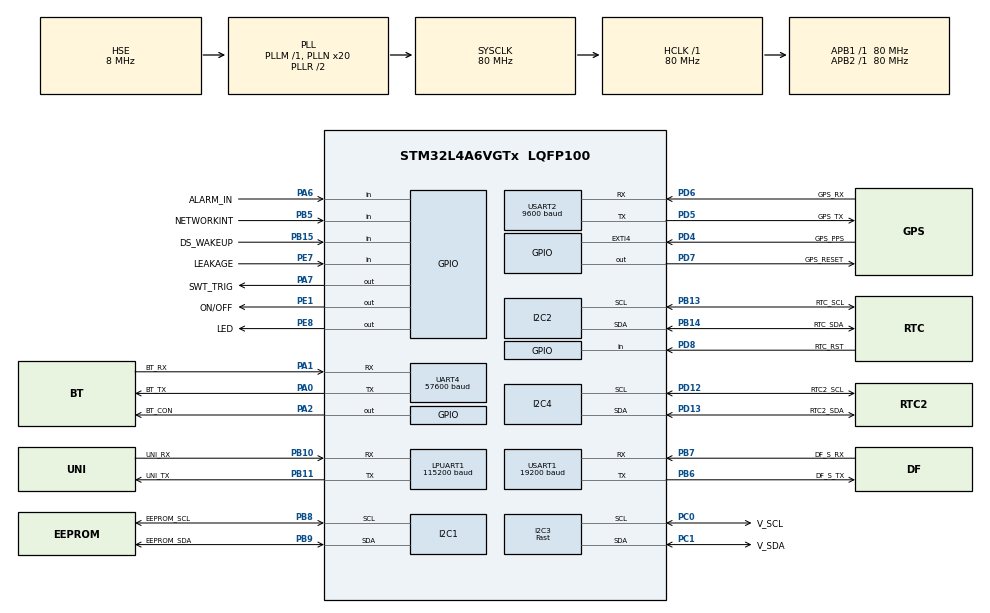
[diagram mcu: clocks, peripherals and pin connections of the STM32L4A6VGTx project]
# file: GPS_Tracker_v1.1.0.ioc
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FREERTOS.Queues01=iridiumQueue,30,50,1,Dynamic,NULL,NULL;usbQueue,5,50,1,Dynamic,NULL,NULL;gpsQueue,30,100,1,Dynamic,NULL,NULL;iridiumsendQueue,70,50,1,Dynamic,NULL,NULL;iridiumrecvQueue,10,50,1,Dynamic,NULL,NULL;crcdataQueue,20,50,1,Dynamic,NULL,NULL;sizedatairidiumQueue,70,uint16_t,0,Dynamic,NULL,NULL;sizedatadecodeQueue,20,uint16_t,0,Dynamic,NULL,NULL
PD12.GPIO_Label=RTC2_SCL
Dma.UART4_RX.1.Mode=DMA_CIRCULAR
VP_SYS_VS_tim6.Mode=TIM6
Dma.UART4_RX.1.MemDataAlignment=DMA_MDATAALIGN_BYTE
PB10.Mode=Asynchronous
NVIC.TIM6_DAC_IRQn=true\:0\:0\:false\:false\:true\:false\:false\:true
PB14.GPIO_Label=RTC_SDA
PB7.GPIO_FM7=I2C_FASTMODEPLUS_PB7
PE1.PinState=GPIO_PIN_SET
VP_RTC_VS_RTC_Activate.Mode=RTC_Enabled
LPUART1.WordLength=UART_WORDLENGTH_8B
PA6.GPIO_Label=ALARM_IN
PB6.GPIO_Label=DF_S_TX
Dma.USART1_RX.3.MemDataAlignment=DMA_MDATAALIGN_BYTE
PC15-OSC32_OUT\ (PC15).Mode=LSE-External-Oscillator
PB13.Signal=I2C2_SCL
PD6.GPIO_Label=GPS_RX
RCC.SYSCLKSource=RCC_SYSCLKSOURCE_PLLCLK
PC14-OSC32_IN\ (PC14).Mode=LSE-External-Oscillator
PA14\ (JTCK/SWCLK).Signal=SYS_JTCK-SWCLK
PD7.GPIO_PuPd=GPIO_PULLUP
I2C4.Timing=0x10909CEC
PD4.Signal=GPXTI4
RCC.APB2TimFreq_Value=80000000
PB6.Signal=USART1_TX
PB6.Mode=Asynchronous
Dma.USART2_RX.2.Priority=DMA_PRIORITY_LOW
PD8.Signal=GPIO_Input
PE1.Signal=GPIO_Output
PB7.GPIO_ModeDefaultPP=GPIO_MODE_AF_PP
RCC.RTCClockSelection=RCC_RTCCLKSOURCE_LSE
PB14.Mode=I2C
USART1.OverrunDisableParam=ADVFEATURE_OVERRUN_ENABLE
PA0.Mode=Asynchronous
PA14\ (JTCK/SWCLK).Mode=Serial_Wire
Dma.LPUART_RX.0.Direction=DMA_PERIPH_TO_MEMORY
PA0.Signal=UART4_TX
RTC.AlarmMaskDateWeekDay-Alarm\ A=RTC_ALARMMASK_DATEWEEKDAY
Mcu.Package=LQFP100
PB9.Signal=I2C1_SDA
Dma.USART1_RX.3.Instance=DMA1_Channel5
NVIC.TimeBase=TIM6_DAC_IRQn
PD12.Signal=I2C4_SCL
PB6.GPIO_FM6=I2C_FASTMODEPLUS_PB6
Dma.UART4_RX.1.PeriphDataAlignment=DMA_PDATAALIGN_BYTE
NVIC.TimeBaseIP=TIM6
VP_RTC_VS_RTC_Calendar.Mode=RTC_Calendar
Dma.USART2_RX.2.Direction=DMA_PERIPH_TO_MEMORY
RCC.APB1TimFreq_Value=80000000
PB13.Mode=I2C
NVIC.USART1_IRQn=true\:5\:0\:false\:false\:true\:true\:true\:true
Dma.USART1_RX.3.MemInc=DMA_MINC_ENABLE
PH0-OSC_IN\ (PH0).Mode=HSE-External-Oscillator
RCC.HSI48_VALUE=48000000
NVIC.UART4_IRQn=true\:5\:0\:false\:true\:true\:3\:true\:true\:true
PB7.GPIO_PuPd=GPIO_NOPULL
NVIC.DMA1_Channel6_IRQn=true\:5\:0\:false\:false\:true\:true\:false\:true
FREERTOS.Tasks01=operationTask,32,4096,StartOperationTask,Default,NULL,Dynamic,NULL,NULL;iridiumTask,40,6144,StartIridiumTask,Default,NULL,Dynamic,NULL,NULL;gpsTask,8,2048,StartGpsTask,Default,NULL,Dynamic,NULL,NULL;usbTask,24,4096,StartUsbTask,Default,NULL,Dynamic,NULL,NULL;sendiridiumTask,41,6144,StartSendIridiumTask,Default,NULL,Dynamic,NULL,NULL;watchdogTask,42,2048,StartWatchdogTask,Default,NULL,Dynamic,NULL,NULL;iridiumrecvTask,43,4096,StartIridiumrecvTask,Default,NULL,Dynamic,NULL,NULL
PB6.GPIO_PuPd=GPIO_NOPULL
PB11.GPIO_Label=UNI_TX
PD7.Signal=GPIO_Output
PE1.GPIO_PuPd=GPIO_PULLDOWN
Dma.LPUART_RX.0.Instance=DMA2_Channel7
PC0.Signal=I2C3_SCL
PD6.Mode=Asynchronous
USART2.BaudRate=9600
Dma.USART2_RX.2.Mode=DMA_CIRCULAR
Dma.LPUART_RX.0.MemDataAlignment=DMA_MDATAALIGN_BYTE
PB8.GPIO_Label=EEPROM_SCL
PB11.Mode=Asynchronous
PE8.GPIO_Label=LED
I2C1.Timing=0x10909CEC
RTC.Format=RTC_FORMAT_BIN
PB10.Signal=LPUART1_RX
PB14.Signal=I2C2_SDA
PE1.GPIO_Label=ON/OFF
PA1.Mode=Asynchronous
PB15.GPIO_Label=DS_WAKEUP
PE8.Signal=GPIO_Output
PA1.GPIO_Label=BT_RX
Dma.USART1_RX.3.PeriphDataAlignment=DMA_PDATAALIGN_BYTE
NVIC.RTC_Alarm_IRQn=true\:5\:0\:false\:false\:true\:true\:true\:true
PB5.Signal=GPIO_Input
Dma.LPUART_RX.0.PeriphInc=DMA_PINC_DISABLE
PD12.Mode=I2C
USART1.MSBFirstParam=ADVFEATURE_MSBFIRST_DISABLE
ProjectManager.HeapSize=0x200
Dma.UART4_RX.1.PeriphInc=DMA_PINC_DISABLE
NVIC.PriorityGroup=NVIC_PRIORITYGROUP_4
Dma.UART4_RX.1.Priority=DMA_PRIORITY_MEDIUM
PB8.Mode=I2C
PB6.GPIO_Speed=GPIO_SPEED_FREQ_VERY_HIGH
USART1.SwapParam=ADVFEATURE_SWAP_DISABLE
PC1.Signal=I2C3_SDA
PA13\ (JTMS/SWDIO).Signal=SYS_JTMS-SWDIO
PC1.Mode=I2C
I2C3.I2C_Speed_Mode=I2C_Fast
Mcu.Family=STM32L4
Dma.USART2_RX.2.PeriphDataAlignment=DMA_PDATAALIGN_BYTE
RTC.AlarmMaskHours-Alarm\ A=RTC_ALARMMASK_HOURS
RCC.CortexFreq_Value=80000000
FREERTOS.BinarySemaphores01=rtcBinarySem,Dynamic,NULL;iridiumrecvBinarySem,Dynamic,NULL
NVIC.DMA1_Channel5_IRQn=true\:5\:0\:false\:false\:true\:true\:false\:true
PH0-OSC_IN\ (PH0).Signal=RCC_OSC_IN
USART1.BaudRate=19200
VP_IWDG_VS_IWDG.Mode=IWDG_Activate
I2C2.Timing=0x10909CEC
PA0.GPIO_Label=BT_TX
PC0.GPIO_Label=V_SCL
RTC.AlarmMaskMinutes-Alarm\ A=RTC_ALARMMASK_MINUTES
PB13.GPIO_Label=RTC_SCL
PB11.Signal=LPUART1_TX
PB15.Signal=GPIO_Input
VP_RTC_VS_RTC_Alarm_A_Intern.Mode=Alarm A
ProjectManager.StackSize=0x400
VP_FREERTOS_VS_CMSIS_V2.Mode=CMSIS_V2
PD13.Signal=I2C4_SDA
NVIC.LPUART1_IRQn=true\:5\:0\:false\:true\:true\:2\:true\:true\:true
UART4.BaudRate=57600
RCC.HCLKFreq_Value=80000000
Dma.USART2_RX.2.MemDataAlignment=DMA_MDATAALIGN_BYTE
RCC.AHBFreq_Value=80000000
PD5.Mode=Asynchronous
PH1-OSC_OUT\ (PH1).Mode=HSE-External-Oscillator
NVIC.DMA2_Channel5_IRQn=true\:5\:0\:false\:false\:true\:true\:false\:true
RCC.HSE_VALUE=8000000
Dma.UART4_RX.1.MemInc=DMA_MINC_ENABLE
USART2.VirtualMode-Asynchronous=VM_ASYNC
PB7.Signal=USART1_RX
Dma.USART1_RX.3.Direction=DMA_PERIPH_TO_MEMORY
FREERTOS.configTOTAL_HEAP_SIZE=200000
RCC.FLatency-AdvancedSettings=FLASH_LATENCY_4
PD7.GPIO_Label=GPS_RESET
Dma.LPUART_RX.0.Priority=DMA_PRIORITY_VERY_HIGH
PB7.GPIO_Label=DF_S_RX
PD13.GPIO_Label=RTC2_SDA
PA6.Signal=GPIO_Input
PD5.GPIO_Label=GPS_TX
PA2.GPIO_Label=BT_CON
USART1.DMADisableonRxErrorParam=ADVFEATURE_DMA_ENABLEONRXERROR
I2C3.Timing=0x00702991
PB5.GPIO_Label=NETWORKINT
Dma.Request2=USART2_RX
Dma.Request1=UART4_RX
Dma.Request3=USART1_RX
RCC.CK48CLockSelection=RCC_USBCLKSOURCE_HSI48
PE7.Signal=GPIO_Input
PD6.Signal=USART2_RX
Dma.Request0=LPUART_RX
Dma.UART4_RX.1.Direction=DMA_PERIPH_TO_MEMORY
RCC.PLLSAI1N=16
PB7.GPIO_Speed=GPIO_SPEED_FREQ_VERY_HIGH
Dma.LPUART_RX.0.PeriphDataAlignment=DMA_PDATAALIGN_BYTE
RCC.MSI_VALUE=4000000
RCC.PLLSourceVirtual=RCC_PLLSOURCE_HSE
PA13\ (JTMS/SWDIO).Mode=Serial_Wire
PB9.GPIO_Label=EEPROM_SDA
Dma.USART1_RX.3.PeriphInc=DMA_PINC_DISABLE
PD5.Signal=USART2_TX
PC15-OSC32_OUT\ (PC15).Signal=RCC_OSC32_OUT
NVIC.USART2_IRQn=true\:5\:0\:false\:true\:true\:4\:true\:true\:true
PH1-OSC_OUT\ (PH1).Signal=RCC_OSC_OUT
PC0.Mode=I2C
PD8.GPIO_Label=RTC_RST
USART1.VirtualMode-Asynchronous=VM_ASYNC
Dma.USART2_RX.2.MemInc=DMA_MINC_ENABLE
ProjectManager.TargetToolchain=STM32CubeIDE
PB10.GPIO_Label=UNI_RX
Dma.UART4_RX.1.Instance=DMA2_Channel5
PB9.Mode=I2C
PD13.Mode=I2C
RCC.USBFreq_Value=48000000
PA1.Signal=UART4_RX
PB6.GPIO_ModeDefaultPP=GPIO_MODE_AF_PP
board=custom
RCC.VCOOutputFreq_Value=160000000
Dma.LPUART_RX.0.Mode=DMA_CIRCULAR
Dma.USART2_RX.2.PeriphInc=DMA_PINC_DISABLE
RCC.APB2Freq_Value=80000000
PD4.GPIO_Label=GPS_PPS
PE1.GPIO_Speed=GPIO_SPEED_FREQ_HIGH
RCC.ADCFreq_Value=64000000
PC1.GPIO_Label=V_SDA
Mcu.Name=STM32L4A6VGTx
RTC.Alarm-Alarm\ A=RTC_ALARM_A
PE7.GPIO_Label=LEAKAGE
LPUART1.BaudRate=115200
PA2.Signal=GPIO_Output
Dma.USART1_RX.3.Priority=DMA_PRIORITY_LOW
RCC.SYSCLKFreq_VALUE=80000000
PA7.GPIO_Label=SWT_TRIG
USART1.AutoBaudRateEnableParam=UART_ADVFEATURE_AUTOBAUDRATE_DISABLE
Dma.USART2_RX.2.Instance=DMA1_Channel6
PC14-OSC32_IN\ (PC14).Signal=RCC_OSC32_IN
PB7.Mode=Asynchronous
NVIC.DMA2_Channel7_IRQn=true\:5\:0\:false\:false\:true\:true\:false\:true
RCC.HSI_VALUE=16000000
RCC.PLLN=20
IWDG.Prescaler=IWDG_PRESCALER_256
PB8.Signal=I2C1_SCL
Dma.LPUART_RX.0.MemInc=DMA_MINC_ENABLE
RCC.APB1Freq_Value=80000000
Dma.USART1_RX.3.Mode=DMA_CIRCULAR
PA7.Signal=GPIO_Output

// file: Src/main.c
/* USER CODE BEGIN Header */
/**
  ******************************************************************************
  * @file           : main.c
  * @brief          : Main program body
  ******************************************************************************
  * @attention
  *
  * <h2><center>&copy; Copyright (c) 2021 STMicroelectronics.
  * All rights reserved.</center></h2>
  *
  * This software component is licensed by ST under Ultimate Liberty license
  * SLA0044, the "License"; You may not use this file except in compliance with
  * the License. You may obtain a copy of the License at:
  *                             www.st.com/SLA0044
  *
  ******************************************************************************
  */
/* USER CODE END Header */
#include "main.h"
#include "cmsis_os.h"

/* USER CODE BEGIN Includes */
#include "parameterTEWS.h"
#include "stm32l4xx_hal_pwr.h"
#include "stm32l4xx_hal_rtc.h"
#include "task.h"
#include "stm32l4xx_hal.h"
#include "FreeRTOSConfig.h"
/* USER CODE END Includes */

I2C_HandleTypeDef hi2c1;
I2C_HandleTypeDef hi2c2;
I2C_HandleTypeDef hi2c3;
I2C_HandleTypeDef hi2c4;

IWDG_HandleTypeDef hiwdg;

UART_HandleTypeDef hlpuart1;
UART_HandleTypeDef huart4;
UART_HandleTypeDef huart1;
UART_HandleTypeDef huart2;
DMA_HandleTypeDef hdma_lpuart_rx;
DMA_HandleTypeDef hdma_uart4_rx;
DMA_HandleTypeDef hdma_usart1_rx;
DMA_HandleTypeDef hdma_usart2_rx;

RTC_HandleTypeDef hrtc;

/* Definitions for operationTask */
osThreadId_t operationTaskHandle;
const osThreadAttr_t operationTask_attributes = {
  .name = "operationTask",
  .stack_size = 4096 * 4,
  .priority = (osPriority_t) osPriorityAboveNormal,
};
/* Definitions for iridiumTask */
osThreadId_t iridiumTaskHandle;
const osThreadAttr_t iridiumTask_attributes = {
  .name = "iridiumTask",
  .stack_size = 6144 * 4,
  .priority = (osPriority_t) osPriorityHigh,
};
/* Definitions for gpsTask */
osThreadId_t gpsTaskHandle;
const osThreadAttr_t gpsTask_attributes = {
  .name = "gpsTask",
  .stack_size = 2048 * 4,
  .priority = (osPriority_t) osPriorityLow,
};
/* Definitions for usbTask */
osThreadId_t usbTaskHandle;
const osThreadAttr_t usbTask_attributes = {
  .name = "usbTask",
  .stack_size = 4096 * 4,
  .priority = (osPriority_t) osPriorityNormal,
};
/* Definitions for sendiridiumTask */
osThreadId_t sendiridiumTaskHandle;
const osThreadAttr_t sendiridiumTask_attributes = {
  .name = "sendiridiumTask",
  .stack_size = 6144 * 4,
  .priority = (osPriority_t) osPriorityHigh1,
};
/* Definitions for watchdogTask */
osThreadId_t watchdogTaskHandle;
const osThreadAttr_t watchdogTask_attributes = {
  .name = "watchdogTask",
  .stack_size = 2048 * 4,
  .priority = (osPriority_t) osPriorityHigh2,
};
/* Definitions for iridiumrecvTask */
osThreadId_t iridiumrecvTaskHandle;
const osThreadAttr_t iridiumrecvTask_attributes = {
  .name = "iridiumrecvTask",
  .stack_size = 4096 * 4,
  .priority = (osPriority_t) osPriorityHigh3,
};
/* Definitions for iridiumQueue */
osMessageQueueId_t iridiumQueueHandle;
const osMessageQueueAttr_t iridiumQueue_attributes = {
  .name = "iridiumQueue"
};
/* Definitions for usbQueue */
osMessageQueueId_t usbQueueHandle;
const osMessageQueueAttr_t usbQueue_attributes = {
  .name = "usbQueue"
};
/* Definitions for gpsQueue */
osMessageQueueId_t gpsQueueHandle;
const osMessageQueueAttr_t gpsQueue_attributes = {
  .name = "gpsQueue"
};
/* Definitions for iridiumsendQueue */
osMessageQueueId_t iridiumsendQueueHandle;
const osMessageQueueAttr_t iridiumsendQueue_attributes = {
  .name = "iridiumsendQueue"
};
/* Definitions for iridiumrecvQueue */
osMessageQueueId_t iridiumrecvQueueHandle;
const osMessageQueueAttr_t iridiumrecvQueue_attributes = {
  .name = "iridiumrecvQueue"
};
/* Definitions for crcdataQueue */
osMessageQueueId_t crcdataQueueHandle;
const osMessageQueueAttr_t crcdataQueue_attributes = {
  .name = "crcdataQueue"
};
/* Definitions for sizedatairidiumQueue */
osMessageQueueId_t sizedatairidiumQueueHandle;
const osMessageQueueAttr_t sizedatairidiumQueue_attributes = {
  .name = "sizedatairidiumQueue"
};
/* Definitions for sizedatadecodeQueue */
osMessageQueueId_t sizedatadecodeQueueHandle;
const osMessageQueueAttr_t sizedatadecodeQueue_attributes = {
  .name = "sizedatadecodeQueue"
};
/* Definitions for rtcBinarySem */
osSemaphoreId_t rtcBinarySemHandle;
const osSemaphoreAttr_t rtcBinarySem_attributes = {
  .name = "rtcBinarySem"
};
/* Definitions for iridiumrecvBinarySem */
osSemaphoreId_t iridiumrecvBinarySemHandle;
const osSemaphoreAttr_t iridiumrecvBinarySem_attributes = {
  .name = "iridiumrecvBinarySem"
};
/* USER CODE BEGIN PV */
uint32_t generalTaskTimer;
uint32_t iridiumTaskTimer;
uint32_t akustikTaskTimer;
uint32_t sdcardTaskTimer;
uint32_t gpsTaskTimer;
uint32_t usbTaskTimer;
uint32_t datadecodeTaskTimer;
uint32_t prevdataengTaskTimer;
uint32_t dataengTaskTimer;
uint32_t prevGPSTaskTimer1;
uint32_t prevGPSTaskTimer2;
uint8_t  statusSendGPS;
uint32_t datahandleTaskTimer;
uint32_t acoenvTaskTimer;
uint32_t iridiumrecvTaskTimer;

_RTC rtcTEWS;
_RTC rtcTEWS2;

char bufferusb[100] = "buffer USB \n"; //reserved for print buffer usb
char bufferiridium[100] = "buffer IRIDIUM \n"; //reserved for print buffer usb
char buffersdcard[100] = "buffer SDCARD \n"; //reserved for print buffer sdcard
char bufferakustik[100] = "buffer AKUSTIK \n"; //reserved for print buffer usb
char buffergps[100] = "buffer GPS \n"; //reserved for print buffer usb
char bufferdata6bit[100] = "buffer \n"; //reserved for print buffer usb
char buffercrcdata[100] = "buffer \n"; //reserved for print buffer usb
char bufferiridiumdata[100] = "buffer \n"; //reserved for print buffer usb

uint32_t threshold;
uint8_t poweracoustic;
uint8_t rateacoustic;
uint32_t periodsampling;
uint32_t periodsenddata;
uint32_t periodsendloc;
uint32_t old_periodsendloc;
uint32_t periodsendbat;
uint32_t timebacknormal;

uint8_t mode = BUOY; //default
uint8_t debug = ACTIVE;
uint8_t debugbt;
uint8_t mulai = 0;
uint8_t idOBU;
uint8_t idBUOY;
uint8_t idCBT;
uint8_t operationmode;
uint8_t countertsunami;
uint8_t calculationstatus;
uint8_t sendmodeiridium = TEXT;
uint8_t tandalat;
int latx;
float latitude;
uint8_t tandalng;
int lngx;
float longitude;
uint32_t distancedrifting;
uint8_t ledstatus;
uint8_t debugbpr;
uint8_t debugakustik;
uint8_t debugiridium;
uint8_t debuggps;
uint8_t debugbluetooth;
uint8_t debuguni;
uint8_t syncgps;
uint8_t AccelerometerStatus;
uint8_t kalibrasibat;
uint32_t accth;
uint32_t acccounter;

uint8_t flagminute;
uint8_t flaghour;

uint8_t flagBPRtimeOut;

uint32_t acccounterstatus;
uint32_t timebacknormalstatus;
uint8_t accstreamstatus;
uint8_t synctimertc;
uint8_t minbat;
uint8_t hourbat;
uint8_t minloc;
uint8_t hourloc;
uint8_t periodmin;
uint8_t driftcalc;
uint8_t leakstatus;

uint8_t statuswaitresponsebpr;
uint8_t counterwaitbpr;
uint8_t counterwaitbprflag;
uint8_t AISstatus;

uint8_t regVal;
float rtcTemp;

uint32_t PeriodSampling = 15;
uint32_t CounterSamplingOBU = 0;
uint32_t CounterSamplingBUOY = 0;
uint32_t CounterSendOBU = 0;
uint32_t CounterSendBUOY = 0;
uint32_t CounterSendBUOYBat = 0;

uint8_t settime = 1;
uint8_t timer2keeper = 0;
uint8_t counterTA;

char printbuf[400] = "print buffer \n";
_RTC rtcTEWS;
RTC_TimeTypeDef stimeststuctureget;
RTC_DateTypeDef sdateststuctureget;
RTC_TimeTypeDef getTimeRTC;
RTC_DateTypeDef getDateRTC;
uint32_t volt;
uint8_t alarm_now;

uint8_t receiveOBU;

uint8_t signaliridium;
uint8_t ds_wakeup;

uint8_t nbtry = 0;
uint8_t statusbuoy = 0;
uint8_t versionfirmware = 3;
uint8_t iridiumqueuenumber = 0;
uint8_t iridium11counter = 0;
uint8_t iridiumsleepcounter = 0;
uint8_t autosleepcounter = 0;

extern IRIDIUM_t IRIDIUM;
extern DATAENGINEERING_t DATAENGINEERING;
/* USER CODE END PV */

void SystemClock_Config(void);
static void MX_GPIO_Init(void);
static void MX_DMA_Init(void);
static void MX_I2C1_Init(void);
static void MX_I2C2_Init(void);
static void MX_I2C3_Init(void);
static void MX_IWDG_Init(void);
static void MX_LPUART1_UART_Init(void);
static void MX_UART4_Init(void);
static void MX_USART1_UART_Init(void);
static void MX_USART2_UART_Init(void);
static void MX_RTC_Init(void);
static void MX_I2C4_Init(void);
void StartOperationTask(void *argument);
void StartIridiumTask(void *argument);
void StartGpsTask(void *argument);
void StartUsbTask(void *argument);
void StartSendIridiumTask(void *argument);
void StartWatchdogTask(void *argument);
void StartIridiumrecvTask(void *argument);

static void MX_NVIC_Init(void);

int main(void)
{

  /* MCU Configuration--------------------------------------------------------*/

  /* Reset of all peripherals, Initializes the Flash interface and the Systick. */
  HAL_Init();

  /* Configure the system clock */
  SystemClock_Config();

  /* Initialize all configured peripherals */
  MX_GPIO_Init();
  MX_DMA_Init();
  MX_I2C1_Init();
  MX_I2C2_Init();
  MX_I2C3_Init();
  MX_IWDG_Init();
  MX_LPUART1_UART_Init();
  MX_UART4_Init();
  MX_USART1_UART_Init();
  MX_USART2_UART_Init();
  MX_RTC_Init();
  MX_I2C4_Init();

  /* Initialize interrupts */
  MX_NVIC_Init();

  /* Init scheduler */
  osKernelInitialize();

  /* Create the semaphores(s) */
  /* creation of rtcBinarySem */
  rtcBinarySemHandle = osSemaphoreNew(1, 1, &rtcBinarySem_attributes);

  /* creation of iridiumrecvBinarySem */
  iridiumrecvBinarySemHandle = osSemaphoreNew(1, 1, &iridiumrecvBinarySem_attributes);

  /* Create the queue(s) */
  /* creation of iridiumQueue */
  iridiumQueueHandle = osMessageQueueNew (30, 50, &iridiumQueue_attributes);

  /* creation of usbQueue */
  usbQueueHandle = osMessageQueueNew (5, 50, &usbQueue_attributes);

  /* creation of gpsQueue */
  gpsQueueHandle = osMessageQueueNew (30, 100, &gpsQueue_attributes);

  /* creation of iridiumsendQueue */
  iridiumsendQueueHandle = osMessageQueueNew (70, 50, &iridiumsendQueue_attributes);

  /* creation of iridiumrecvQueue */
  iridiumrecvQueueHandle = osMessageQueueNew (10, 50, &iridiumrecvQueue_attributes);

  /* creation of crcdataQueue */
  crcdataQueueHandle = osMessageQueueNew (20, 50, &crcdataQueue_attributes);

  /* creation of sizedatairidiumQueue */
  sizedatairidiumQueueHandle = osMessageQueueNew (70, sizeof(uint16_t), &sizedatairidiumQueue_attributes);

  /* creation of sizedatadecodeQueue */
  sizedatadecodeQueueHandle = osMessageQueueNew (20, sizeof(uint16_t), &sizedatadecodeQueue_attributes);

  /* Create the thread(s) */
  /* creation of operationTask */
  operationTaskHandle = osThreadNew(StartOperationTask, NULL, &operationTask_attributes);

  /* creation of iridiumTask */
  iridiumTaskHandle = osThreadNew(StartIridiumTask, NULL, &iridiumTask_attributes);

  /* creation of gpsTask */
  gpsTaskHandle = osThreadNew(StartGpsTask, NULL, &gpsTask_attributes);

  /* creation of usbTask */
  usbTaskHandle = osThreadNew(StartUsbTask, NULL, &usbTask_attributes);

  /* creation of sendiridiumTask */
  sendiridiumTaskHandle = osThreadNew(StartSendIridiumTask, NULL, &sendiridiumTask_attributes);

  /* creation of watchdogTask */
  watchdogTaskHandle = osThreadNew(StartWatchdogTask, NULL, &watchdogTask_attributes);

  /* creation of iridiumrecvTask */
  iridiumrecvTaskHandle = osThreadNew(StartIridiumrecvTask, NULL, &iridiumrecvTask_attributes);

  /* Start scheduler */
  osKernelStart();

  /* We should never get here as control is now taken by the scheduler */
  /* Infinite loop */
  while (1)
  {

  }
}

void SystemClock_Config(void)
{
  RCC_OscInitTypeDef RCC_OscInitStruct = {0};
  RCC_ClkInitTypeDef RCC_ClkInitStruct = {0};
  RCC_PeriphCLKInitTypeDef PeriphClkInit = {0};

  /** Configure LSE Drive Capability
  */
  HAL_PWR_EnableBkUpAccess();
  __HAL_RCC_LSEDRIVE_CONFIG(RCC_LSEDRIVE_LOW);
  /** Initializes the RCC Oscillators according to the specified parameters
  * in the RCC_OscInitTypeDef structure.
  */
  RCC_OscInitStruct.OscillatorType = RCC_OSCILLATORTYPE_LSI|RCC_OSCILLATORTYPE_HSE
                              |RCC_OSCILLATORTYPE_LSE;
  RCC_OscInitStruct.HSEState = RCC_HSE_ON;
  RCC_OscInitStruct.LSEState = RCC_LSE_ON;
  RCC_OscInitStruct.LSIState = RCC_LSI_ON;
  RCC_OscInitStruct.PLL.PLLState = RCC_PLL_ON;
  RCC_OscInitStruct.PLL.PLLSource = RCC_PLLSOURCE_HSE;
  RCC_OscInitStruct.PLL.PLLM = 1;
  RCC_OscInitStruct.PLL.PLLN = 20;
  RCC_OscInitStruct.PLL.PLLP = RCC_PLLP_DIV2;
  RCC_OscInitStruct.PLL.PLLQ = RCC_PLLQ_DIV2;
  RCC_OscInitStruct.PLL.PLLR = RCC_PLLR_DIV2;
  if (HAL_RCC_OscConfig(&RCC_OscInitStruct) != HAL_OK)
  {
    Error_Handler();
  }
  /** Initializes the CPU, AHB and APB buses clocks
  */
  RCC_ClkInitStruct.ClockType = RCC_CLOCKTYPE_HCLK|RCC_CLOCKTYPE_SYSCLK
                              |RCC_CLOCKTYPE_PCLK1|RCC_CLOCKTYPE_PCLK2;
  RCC_ClkInitStruct.SYSCLKSource = RCC_SYSCLKSOURCE_PLLCLK;
  RCC_ClkInitStruct.AHBCLKDivider = RCC_SYSCLK_DIV1;
  RCC_ClkInitStruct.APB1CLKDivider = RCC_HCLK_DIV1;
  RCC_ClkInitStruct.APB2CLKDivider = RCC_HCLK_DIV1;

  if (HAL_RCC_ClockConfig(&RCC_ClkInitStruct, FLASH_LATENCY_4) != HAL_OK)
  {
    Error_Handler();
  }
  PeriphClkInit.PeriphClockSelection = RCC_PERIPHCLK_RTC|RCC_PERIPHCLK_USART1
                              |RCC_PERIPHCLK_USART2|RCC_PERIPHCLK_UART4
                              |RCC_PERIPHCLK_LPUART1|RCC_PERIPHCLK_I2C1
                              |RCC_PERIPHCLK_I2C2|RCC_PERIPHCLK_I2C3
                              |RCC_PERIPHCLK_I2C4;
  PeriphClkInit.Usart1ClockSelection = RCC_USART1CLKSOURCE_PCLK2;
  PeriphClkInit.Usart2ClockSelection = RCC_USART2CLKSOURCE_PCLK1;
  PeriphClkInit.Uart4ClockSelection = RCC_UART4CLKSOURCE_PCLK1;
  PeriphClkInit.Lpuart1ClockSelection = RCC_LPUART1CLKSOURCE_PCLK1;
  PeriphClkInit.I2c1ClockSelection = RCC_I2C1CLKSOURCE_PCLK1;
  PeriphClkInit.I2c2ClockSelection = RCC_I2C2CLKSOURCE_PCLK1;
  PeriphClkInit.I2c3ClockSelection = RCC_I2C3CLKSOURCE_PCLK1;
  PeriphClkInit.I2c4ClockSelection = RCC_I2C4CLKSOURCE_PCLK1;
  PeriphClkInit.RTCClockSelection = RCC_RTCCLKSOURCE_LSE;
  if (HAL_RCCEx_PeriphCLKConfig(&PeriphClkInit) != HAL_OK)
  {
    Error_Handler();
  }
  /** Configure the main internal regulator output voltage
  */
  if (HAL_PWREx_ControlVoltageScaling(PWR_REGULATOR_VOLTAGE_SCALE1) != HAL_OK)
  {
    Error_Handler();
  }
}

/**
  * @brief NVIC Configuration.
  * @retval None
  */
static void MX_NVIC_Init(void)
{
  /* LPUART1_IRQn interrupt configuration */
  HAL_NVIC_SetPriority(LPUART1_IRQn, 5, 0);
  HAL_NVIC_EnableIRQ(LPUART1_IRQn);
  /* UART4_IRQn interrupt configuration */
  HAL_NVIC_SetPriority(UART4_IRQn, 5, 0);
  HAL_NVIC_EnableIRQ(UART4_IRQn);
  /* USART2_IRQn interrupt configuration */
  HAL_NVIC_SetPriority(USART2_IRQn, 5, 0);
  HAL_NVIC_EnableIRQ(USART2_IRQn);
}

static void MX_I2C1_Init(void)
{

  hi2c1.Instance = I2C1;
  hi2c1.Init.Timing = 0x10909CEC;
  hi2c1.Init.OwnAddress1 = 0;
  hi2c1.Init.AddressingMode = I2C_ADDRESSINGMODE_7BIT;
  hi2c1.Init.DualAddressMode = I2C_DUALADDRESS_DISABLE;
  hi2c1.Init.OwnAddress2 = 0;
  hi2c1.Init.OwnAddress2Masks = I2C_OA2_NOMASK;
  hi2c1.Init.GeneralCallMode = I2C_GENERALCALL_DISABLE;
  hi2c1.Init.NoStretchMode = I2C_NOSTRETCH_DISABLE;
  if (HAL_I2C_Init(&hi2c1) != HAL_OK)
  {
    Error_Handler();
  }
  /** Configure Analogue filter
  */
  if (HAL_I2CEx_ConfigAnalogFilter(&hi2c1, I2C_ANALOGFILTER_ENABLE) != HAL_OK)
  {
    Error_Handler();
  }
  /** Configure Digital filter
  */
  if (HAL_I2CEx_ConfigDigitalFilter(&hi2c1, 0) != HAL_OK)
  {
    Error_Handler();
  }

}

static void MX_I2C2_Init(void)
{

  hi2c2.Instance = I2C2;
  hi2c2.Init.Timing = 0x10909CEC;
  hi2c2.Init.OwnAddress1 = 0;
  hi2c2.Init.AddressingMode = I2C_ADDRESSINGMODE_7BIT;
  hi2c2.Init.DualAddressMode = I2C_DUALADDRESS_DISABLE;
  hi2c2.Init.OwnAddress2 = 0;
  hi2c2.Init.OwnAddress2Masks = I2C_OA2_NOMASK;
  hi2c2.Init.GeneralCallMode = I2C_GENERALCALL_DISABLE;
  hi2c2.Init.NoStretchMode = I2C_NOSTRETCH_DISABLE;
  if (HAL_I2C_Init(&hi2c2) != HAL_OK)
  {
    Error_Handler();
  }
  /** Configure Analogue filter
  */
  if (HAL_I2CEx_ConfigAnalogFilter(&hi2c2, I2C_ANALOGFILTER_ENABLE) != HAL_OK)
  {
    Error_Handler();
  }
  /** Configure Digital filter
  */
  if (HAL_I2CEx_ConfigDigitalFilter(&hi2c2, 0) != HAL_OK)
  {
    Error_Handler();
  }

}

static void MX_I2C3_Init(void)
{

  hi2c3.Instance = I2C3;
  hi2c3.Init.Timing = 0x00702991;
  hi2c3.Init.OwnAddress1 = 0;
  hi2c3.Init.AddressingMode = I2C_ADDRESSINGMODE_7BIT;
  hi2c3.Init.DualAddressMode = I2C_DUALADDRESS_DISABLE;
  hi2c3.Init.OwnAddress2 = 0;
  hi2c3.Init.OwnAddress2Masks = I2C_OA2_NOMASK;
  hi2c3.Init.GeneralCallMode = I2C_GENERALCALL_DISABLE;
  hi2c3.Init.NoStretchMode = I2C_NOSTRETCH_DISABLE;
  if (HAL_I2C_Init(&hi2c3) != HAL_OK)
  {
    Error_Handler();
  }
  /** Configure Analogue filter
  */
  if (HAL_I2CEx_ConfigAnalogFilter(&hi2c3, I2C_ANALOGFILTER_ENABLE) != HAL_OK)
  {
    Error_Handler();
  }
  /** Configure Digital filter
  */
  if (HAL_I2CEx_ConfigDigitalFilter(&hi2c3, 0) != HAL_OK)
  {
    Error_Handler();
  }

}

static void MX_I2C4_Init(void)
{

  hi2c4.Instance = I2C4;
  hi2c4.Init.Timing = 0x10909CEC;
  hi2c4.Init.OwnAddress1 = 0;
  hi2c4.Init.AddressingMode = I2C_ADDRESSINGMODE_7BIT;
  hi2c4.Init.DualAddressMode = I2C_DUALADDRESS_DISABLE;
  hi2c4.Init.OwnAddress2 = 0;
  hi2c4.Init.OwnAddress2Masks = I2C_OA2_NOMASK;
  hi2c4.Init.GeneralCallMode = I2C_GENERALCALL_DISABLE;
  hi2c4.Init.NoStretchMode = I2C_NOSTRETCH_DISABLE;
  if (HAL_I2C_Init(&hi2c4) != HAL_OK)
  {
    Error_Handler();
  }
  /** Configure Analogue filter
  */
  if (HAL_I2CEx_ConfigAnalogFilter(&hi2c4, I2C_ANALOGFILTER_ENABLE) != HAL_OK)
  {
    Error_Handler();
  }
  /** Configure Digital filter
  */
  if (HAL_I2CEx_ConfigDigitalFilter(&hi2c4, 0) != HAL_OK)
  {
    Error_Handler();
  }

}

static void MX_IWDG_Init(void)
{

  hiwdg.Instance = IWDG;
  hiwdg.Init.Prescaler = IWDG_PRESCALER_256;
  hiwdg.Init.Window = 4095;
  hiwdg.Init.Reload = 4095;
  if (HAL_IWDG_Init(&hiwdg) != HAL_OK)
  {
    Error_Handler();
  }

}

static void MX_LPUART1_UART_Init(void)
{

  hlpuart1.Instance = LPUART1;
  hlpuart1.Init.BaudRate = 115200;
  hlpuart1.Init.WordLength = UART_WORDLENGTH_8B;
  hlpuart1.Init.StopBits = UART_STOPBITS_1;
  hlpuart1.Init.Parity = UART_PARITY_NONE;
  hlpuart1.Init.Mode = UART_MODE_TX_RX;
  hlpuart1.Init.HwFlowCtl = UART_HWCONTROL_NONE;
  hlpuart1.Init.OneBitSampling = UART_ONE_BIT_SAMPLE_DISABLE;
  hlpuart1.AdvancedInit.AdvFeatureInit = UART_ADVFEATURE_NO_INIT;
  if (HAL_UART_Init(&hlpuart1) != HAL_OK)
  {
    Error_Handler();
  }

}

static void MX_UART4_Init(void)
{

  huart4.Instance = UART4;
  huart4.Init.BaudRate = 57600;
  huart4.Init.WordLength = UART_WORDLENGTH_8B;
  huart4.Init.StopBits = UART_STOPBITS_1;
  huart4.Init.Parity = UART_PARITY_NONE;
  huart4.Init.Mode = UART_MODE_TX_RX;
  huart4.Init.HwFlowCtl = UART_HWCONTROL_NONE;
  huart4.Init.OverSampling = UART_OVERSAMPLING_16;
  huart4.Init.OneBitSampling = UART_ONE_BIT_SAMPLE_DISABLE;
  huart4.AdvancedInit.AdvFeatureInit = UART_ADVFEATURE_NO_INIT;
  if (HAL_UART_Init(&huart4) != HAL_OK)
  {
    Error_Handler();
  }

}

static void MX_USART1_UART_Init(void)
{

  huart1.Instance = USART1;
  huart1.Init.BaudRate = 19200;
  huart1.Init.WordLength = UART_WORDLENGTH_8B;
  huart1.Init.StopBits = UART_STOPBITS_1;
  huart1.Init.Parity = UART_PARITY_NONE;
  huart1.Init.Mode = UART_MODE_TX_RX;
  huart1.Init.HwFlowCtl = UART_HWCONTROL_NONE;
  huart1.Init.OverSampling = UART_OVERSAMPLING_16;
  huart1.Init.OneBitSampling = UART_ONE_BIT_SAMPLE_DISABLE;
  huart1.AdvancedInit.AdvFeatureInit = UART_ADVFEATURE_NO_INIT;
  if (HAL_UART_Init(&huart1) != HAL_OK)
  {
    Error_Handler();
  }

}

static void MX_USART2_UART_Init(void)
{

  huart2.Instance = USART2;
  huart2.Init.BaudRate = 9600;
  huart2.Init.WordLength = UART_WORDLENGTH_8B;
  huart2.Init.StopBits = UART_STOPBITS_1;
  huart2.Init.Parity = UART_PARITY_NONE;
  huart2.Init.Mode = UART_MODE_TX_RX;
  huart2.Init.HwFlowCtl = UART_HWCONTROL_NONE;
  huart2.Init.OverSampling = UART_OVERSAMPLING_16;
  huart2.Init.OneBitSampling = UART_ONE_BIT_SAMPLE_DISABLE;
  huart2.AdvancedInit.AdvFeatureInit = UART_ADVFEATURE_NO_INIT;
  if (HAL_UART_Init(&huart2) != HAL_OK)
  {
    Error_Handler();
  }

}

static void MX_RTC_Init(void)
{

  RTC_TimeTypeDef sTime = {0};
  RTC_DateTypeDef sDate = {0};
  RTC_AlarmTypeDef sAlarm = {0};

  /** Initialize RTC Only
  */
  hrtc.Instance = RTC;
  hrtc.Init.HourFormat = RTC_HOURFORMAT_24;
  hrtc.Init.AsynchPrediv = 127;
  hrtc.Init.SynchPrediv = 255;
  hrtc.Init.OutPut = RTC_OUTPUT_DISABLE;
  hrtc.Init.OutPutRemap = RTC_OUTPUT_REMAP_NONE;
  hrtc.Init.OutPutPolarity = RTC_OUTPUT_POLARITY_HIGH;
  hrtc.Init.OutPutType = RTC_OUTPUT_TYPE_OPENDRAIN;
  if (HAL_RTC_Init(&hrtc) != HAL_OK)
  {
    Error_Handler();
  }

  /** Initialize RTC and set the Time and Date
  */
  sTime.Hours = 0;
  sTime.Minutes = 0;
  sTime.Seconds = 0;
  sTime.DayLightSaving = RTC_DAYLIGHTSAVING_NONE;
  sTime.StoreOperation = RTC_STOREOPERATION_RESET;
  if (HAL_RTC_SetTime(&hrtc, &sTime, RTC_FORMAT_BIN) != HAL_OK)
  {
    Error_Handler();
  }
  sDate.WeekDay = RTC_WEEKDAY_MONDAY;
  sDate.Month = RTC_MONTH_JANUARY;
  sDate.Date = 1;
  sDate.Year = 0;

  if (HAL_RTC_SetDate(&hrtc, &sDate, RTC_FORMAT_BIN) != HAL_OK)
  {
    Error_Handler();
  }
  /** Enable the Alarm A
  */
  sAlarm.AlarmTime.Hours = 0;
  sAlarm.AlarmTime.Minutes = 0;
  sAlarm.AlarmTime.Seconds = 0;
  sAlarm.AlarmTime.SubSeconds = 0;
  sAlarm.AlarmTime.DayLightSaving = RTC_DAYLIGHTSAVING_NONE;
  sAlarm.AlarmTime.StoreOperation = RTC_STOREOPERATION_RESET;
  sAlarm.AlarmMask = RTC_ALARMMASK_DATEWEEKDAY|RTC_ALARMMASK_HOURS
                              |RTC_ALARMMASK_MINUTES;
  sAlarm.AlarmSubSecondMask = RTC_ALARMSUBSECONDMASK_ALL;
  sAlarm.AlarmDateWeekDaySel = RTC_ALARMDATEWEEKDAYSEL_DATE;
  sAlarm.AlarmDateWeekDay = 1;
  sAlarm.Alarm = RTC_ALARM_A;
  if (HAL_RTC_SetAlarm_IT(&hrtc, &sAlarm, RTC_FORMAT_BIN) != HAL_OK)
  {
    Error_Handler();
  }

}

static void MX_DMA_Init(void)
{

  /* DMA controller clock enable */
  __HAL_RCC_DMA2_CLK_ENABLE();
  __HAL_RCC_DMA1_CLK_ENABLE();

  /* DMA interrupt init */
  /* DMA1_Channel5_IRQn interrupt configuration */
  HAL_NVIC_SetPriority(DMA1_Channel5_IRQn, 5, 0);
  HAL_NVIC_EnableIRQ(DMA1_Channel5_IRQn);
  /* DMA1_Channel6_IRQn interrupt configuration */
  HAL_NVIC_SetPriority(DMA1_Channel6_IRQn, 5, 0);
  HAL_NVIC_EnableIRQ(DMA1_Channel6_IRQn);
  /* DMA2_Channel5_IRQn interrupt configuration */
  HAL_NVIC_SetPriority(DMA2_Channel5_IRQn, 5, 0);
  HAL_NVIC_EnableIRQ(DMA2_Channel5_IRQn);
  /* DMA2_Channel7_IRQn interrupt configuration */
  HAL_NVIC_SetPriority(DMA2_Channel7_IRQn, 5, 0);
  HAL_NVIC_EnableIRQ(DMA2_Channel7_IRQn);

}

static void MX_GPIO_Init(void)
{
  GPIO_InitTypeDef GPIO_InitStruct = {0};

  /* GPIO Ports Clock Enable */
  __HAL_RCC_GPIOE_CLK_ENABLE();
  __HAL_RCC_GPIOC_CLK_ENABLE();
  __HAL_RCC_GPIOH_CLK_ENABLE();
  __HAL_RCC_GPIOA_CLK_ENABLE();
  __HAL_RCC_GPIOB_CLK_ENABLE();
  __HAL_RCC_GPIOD_CLK_ENABLE();

  /*Configure GPIO pin Output Level */
  HAL_GPIO_WritePin(GPIOA, BT_CON_Pin|SWT_TRIG_Pin, GPIO_PIN_RESET);

  /*Configure GPIO pin Output Level */
  HAL_GPIO_WritePin(LED_GPIO_Port, LED_Pin, GPIO_PIN_RESET);

  /*Configure GPIO pin Output Level */
  HAL_GPIO_WritePin(GPS_RESET_GPIO_Port, GPS_RESET_Pin, GPIO_PIN_RESET);

  /*Configure GPIO pin Output Level */
  HAL_GPIO_WritePin(ON_OFF_GPIO_Port, ON_OFF_Pin, GPIO_PIN_SET);

  /*Configure GPIO pins : PE2 PE3 PE4 PE5
                           PE6 PE9 PE10 PE11
                           PE12 PE13 PE14 PE15
                           PE0 */
  GPIO_InitStruct.Pin = GPIO_PIN_2|GPIO_PIN_3|GPIO_PIN_4|GPIO_PIN_5
                          |GPIO_PIN_6|GPIO_PIN_9|GPIO_PIN_10|GPIO_PIN_11
                          |GPIO_PIN_12|GPIO_PIN_13|GPIO_PIN_14|GPIO_PIN_15
                          |GPIO_PIN_0;
  GPIO_InitStruct.Mode = GPIO_MODE_ANALOG;
  GPIO_InitStruct.Pull = GPIO_NOPULL;
  HAL_GPIO_Init(GPIOE, &GPIO_InitStruct);

  /*Configure GPIO pins : PC13 PC2 PC3 PC4
                           PC5 PC6 PC7 PC8
                           PC9 PC10 PC11 PC12 */
  GPIO_InitStruct.Pin = GPIO_PIN_13|GPIO_PIN_2|GPIO_PIN_3|GPIO_PIN_4
                          |GPIO_PIN_5|GPIO_PIN_6|GPIO_PIN_7|GPIO_PIN_8
                          |GPIO_PIN_9|GPIO_PIN_10|GPIO_PIN_11|GPIO_PIN_12;
  GPIO_InitStruct.Mode = GPIO_MODE_ANALOG;
  GPIO_InitStruct.Pull = GPIO_NOPULL;
  HAL_GPIO_Init(GPIOC, &GPIO_InitStruct);

  /*Configure GPIO pins : BT_CON_Pin SWT_TRIG_Pin */
  GPIO_InitStruct.Pin = BT_CON_Pin|SWT_TRIG_Pin;
  GPIO_InitStruct.Mode = GPIO_MODE_OUTPUT_PP;
  GPIO_InitStruct.Pull = GPIO_NOPULL;
  GPIO_InitStruct.Speed = GPIO_SPEED_FREQ_LOW;
  HAL_GPIO_Init(GPIOA, &GPIO_InitStruct);

  /*Configure GPIO pins : PA3 PA4 PA5 PA8
                           PA9 PA10 PA11 PA12
                           PA15 */
  GPIO_InitStruct.Pin = GPIO_PIN_3|GPIO_PIN_4|GPIO_PIN_5|GPIO_PIN_8
                          |GPIO_PIN_9|GPIO_PIN_10|GPIO_PIN_11|GPIO_PIN_12
                          |GPIO_PIN_15;
  GPIO_InitStruct.Mode = GPIO_MODE_ANALOG;
  GPIO_InitStruct.Pull = GPIO_NOPULL;
  HAL_GPIO_Init(GPIOA, &GPIO_InitStruct);

  /*Configure GPIO pin : ALARM_IN_Pin */
  GPIO_InitStruct.Pin = ALARM_IN_Pin;
  GPIO_InitStruct.Mode = GPIO_MODE_INPUT;
  GPIO_InitStruct.Pull = GPIO_NOPULL;
  HAL_GPIO_Init(ALARM_IN_GPIO_Port, &GPIO_InitStruct);

  /*Configure GPIO pins : PB0 PB1 PB2 PB12
                           PB3 PB4 */
  GPIO_InitStruct.Pin = GPIO_PIN_0|GPIO_PIN_1|GPIO_PIN_2|GPIO_PIN_12
                          |GPIO_PIN_3|GPIO_PIN_4;
  GPIO_InitStruct.Mode = GPIO_MODE_ANALOG;
  GPIO_InitStruct.Pull = GPIO_NOPULL;
  HAL_GPIO_Init(GPIOB, &GPIO_InitStruct);

  /*Configure GPIO pin : LEAKAGE_Pin */
  GPIO_InitStruct.Pin = LEAKAGE_Pin;
  GPIO_InitStruct.Mode = GPIO_MODE_INPUT;
  GPIO_InitStruct.Pull = GPIO_NOPULL;
  HAL_GPIO_Init(LEAKAGE_GPIO_Port, &GPIO_InitStruct);

  /*Configure GPIO pin : LED_Pin */
  GPIO_InitStruct.Pin = LED_Pin;
  GPIO_InitStruct.Mode = GPIO_MODE_OUTPUT_PP;
  GPIO_InitStruct.Pull = GPIO_NOPULL;
  GPIO_InitStruct.Speed = GPIO_SPEED_FREQ_LOW;
  HAL_GPIO_Init(LED_GPIO_Port, &GPIO_InitStruct);

  /*Configure GPIO pins : DS_WAKEUP_Pin NETWORKINT_Pin */
  GPIO_InitStruct.Pin = DS_WAKEUP_Pin|NETWORKINT_Pin;
  GPIO_InitStruct.Mode = GPIO_MODE_INPUT;
  GPIO_InitStruct.Pull = GPIO_NOPULL;
  HAL_GPIO_Init(GPIOB, &GPIO_InitStruct);

  /*Configure GPIO pin : RTC_RST_Pin */
  GPIO_InitStruct.Pin = RTC_RST_Pin;
  GPIO_InitStruct.Mode = GPIO_MODE_INPUT;
  GPIO_InitStruct.Pull = GPIO_NOPULL;
  HAL_GPIO_Init(RTC_RST_GPIO_Port, &GPIO_InitStruct);

  /*Configure GPIO pins : PD9 PD10 PD11 PD14
                           PD15 PD0 PD1 PD2
                           PD3 */
  GPIO_InitStruct.Pin = GPIO_PIN_9|GPIO_PIN_10|GPIO_PIN_11|GPIO_PIN_14
                          |GPIO_PIN_15|GPIO_PIN_0|GPIO_PIN_1|GPIO_PIN_2
                          |GPIO_PIN_3;
  GPIO_InitStruct.Mode = GPIO_MODE_ANALOG;
  GPIO_InitStruct.Pull = GPIO_NOPULL;
  HAL_GPIO_Init(GPIOD, &GPIO_InitStruct);

  /*Configure GPIO pin : GPS_PPS_Pin */
  GPIO_InitStruct.Pin = GPS_PPS_Pin;
  GPIO_InitStruct.Mode = GPIO_MODE_IT_RISING;
  GPIO_InitStruct.Pull = GPIO_NOPULL;
  HAL_GPIO_Init(GPS_PPS_GPIO_Port, &GPIO_InitStruct);

  /*Configure GPIO pin : GPS_RESET_Pin */
  GPIO_InitStruct.Pin = GPS_RESET_Pin;
  GPIO_InitStruct.Mode = GPIO_MODE_OUTPUT_PP;
  GPIO_InitStruct.Pull = GPIO_PULLUP;
  GPIO_InitStruct.Speed = GPIO_SPEED_FREQ_LOW;
  HAL_GPIO_Init(GPS_RESET_GPIO_Port, &GPIO_InitStruct);

  /*Configure GPIO pin : PH3 */
  GPIO_InitStruct.Pin = GPIO_PIN_3;
  GPIO_InitStruct.Mode = GPIO_MODE_ANALOG;
  GPIO_InitStruct.Pull = GPIO_NOPULL;
  HAL_GPIO_Init(GPIOH, &GPIO_InitStruct);

  /*Configure GPIO pin : ON_OFF_Pin */
  GPIO_InitStruct.Pin = ON_OFF_Pin;
  GPIO_InitStruct.Mode = GPIO_MODE_OUTPUT_PP;
  GPIO_InitStruct.Pull = GPIO_PULLDOWN;
  GPIO_InitStruct.Speed = GPIO_SPEED_FREQ_HIGH;
  HAL_GPIO_Init(ON_OFF_GPIO_Port, &GPIO_InitStruct);

}

/* USER CODE BEGIN 4 */

void HAL_UART_RxCpltCallback(UART_HandleTypeDef *huart) {

	if (huart->Instance == USART1) //iridium
	{
		setgreenLED();
		IRIDIUM_Callback();
		resetgreenLED();
		//HAL_GPIO_TogglePin(GPIOE,LED_Pin);
	}
	if (huart->Instance == LPUART1) //USB
	{
		USB_Callback();
	}
	if (huart->Instance == UART4) //BLUETOOTH
	{
		BT_Callback();
	}
	if (huart->Instance == USART2) //GPS
	{
		GPS_Callback();
	}
}

void HAL_UART_ErrorCallback(UART_HandleTypeDef *huart){
	//
	if (huart->Instance == USART1){
		IRIDIUM.rxIndex = 0;
		HAL_UART_Receive_DMA(&_IRIDIUM_USART, &IRIDIUM.rxTmp, 1);
	}

	if (huart->Instance == LPUART1){
		USB_Init();
	}

	if (huart->Instance == USART2){
		GPS_Init();
	}

	if (huart->Instance == UART4){
		BT_Init();
	}
}

void HAL_GPIO_EXTI_Callback(uint16_t GPIO_Pin) {
	if (GPIO_Pin == GPIO_PIN_1) {
		//
	}

	usb_universal_printf("WAKEUP FROM EXTI \r\n");

	if(GPIO_Pin == DS_WAKEUP_Pin){
		SystemClock_Config();
		HAL_ResumeTick();
		usb_universal_printf("WAKEUP FROM EXTI \r\n");
		HAL_PWR_DisableSleepOnExit();
	}
}

void HAL_RTCEx_WakeUpTimerEventCallback(RTC_HandleTypeDef *hrtc)
{
	//SystemClock_Config();
	//HAL_ResumeTick();
	//usb_universal_printf("WAKEUP FROM RTC\n NOW GOING IN STOP MODE AGAIN \r\n");

}

void HAL_RTC_AlarmAEventCallback(RTC_HandleTypeDef *hrtc) { //alarm A pada mode buoy dibuat per menit
	osSemaphoreRelease(rtcBinarySemHandle);
	//usb_universal_printf("Timer A On \r\n");
}

void HAL_RTC_AlarmBEventCallback(RTC_HandleTypeDef *hrtc) { //alarm A pada mode buoy dibuat per menit
}

void setNextalarmA(uint8_t second) {

	RTC_AlarmTypeDef sAlarm = { 0 };

	sAlarm.AlarmTime.Hours = 0;
	sAlarm.AlarmTime.Minutes = 0;
	sAlarm.AlarmTime.Seconds = second;
	sAlarm.AlarmTime.SubSeconds = 0;
	sAlarm.AlarmTime.DayLightSaving = RTC_DAYLIGHTSAVING_NONE;
	sAlarm.AlarmTime.StoreOperation = RTC_STOREOPERATION_RESET;
	sAlarm.AlarmMask = RTC_ALARMMASK_DATEWEEKDAY | RTC_ALARMMASK_HOURS
			| RTC_ALARMMASK_MINUTES;
	sAlarm.AlarmSubSecondMask = RTC_ALARMSUBSECONDMASK_ALL;
	sAlarm.AlarmDateWeekDaySel = RTC_ALARMDATEWEEKDAYSEL_DATE;
	sAlarm.AlarmDateWeekDay = 1;
	sAlarm.Alarm = RTC_ALARM_A;
	if (HAL_RTC_SetAlarm_IT(&hrtc, &sAlarm, RTC_FORMAT_BIN) != HAL_OK) {
		Error_Handler();
	}
}

/* USER CODE END 4 */

void StartOperationTask(void *argument)
{
  /* USER CODE BEGIN 5 */
	RTC_TimeTypeDef RTCMicro;
	RTC_DateTypeDef RTCDateMicro;
	uint32_t boardtemp;

	InitEEPROM();
	usb_universal_printf("Inisialisasi GPS Tracker \r\n");
	PrintParameter();

	DS3231_GetTime(&rtcTEWS);
	//DS3231_GetTime_B(&rtcTEWS2);
	RTCDateMicro.Year = rtcTEWS.Year;
	RTCDateMicro.Month = rtcTEWS.Month;
	RTCDateMicro.Date = rtcTEWS.Date;
	RTCDateMicro.WeekDay = rtcTEWS.DaysOfWeek;
	HAL_RTC_SetDate(&hrtc, &RTCDateMicro, RTC_FORMAT_BIN);
	RTCMicro.Hours = rtcTEWS.Hour - 1;
	RTCMicro.Minutes = rtcTEWS.Min;
	RTCMicro.Seconds = rtcTEWS.Sec;
	HAL_RTC_SetTime(&hrtc, &RTCMicro, RTC_FORMAT_BIN);
	HAL_IWDG_Refresh(&hiwdg); //refresh counter clock watchdog timer
	osSemaphoreAcquire(rtcBinarySemHandle, 100);

	HAL_GPIO_WritePin(BT_CON_GPIO_Port, BT_CON_Pin, GPIO_PIN_RESET); // bluetooth dalam mode data

	LTC4151_write(LTC4151_I2C_ADDRESS, LTC4151_CONTROL_REG,LTC4151_CONTINUOUS_MODE);

	// Hidupkan Power FET kemudian reset SWQ Alarm
	HAL_GPIO_WritePin(SWT_TRIG_GPIO_Port, SWT_TRIG_Pin, GPIO_PIN_SET);
	osDelay(50);
	//DS3231_ResetAlarm1_B();
	//DS3231_ResetAlarm2_B();
	//osDelay(50);

	//0=tanggal 1=jam 2=menit 3=detik 4=sekali per detik
	uint8_t _Mode = 1;
	uint8_t _Date = rtcTEWS2.Date;
	uint8_t _Hour = rtcTEWS2.Hour;
	uint8_t _Min  = rtcTEWS2.Min;
	uint8_t _Sec  = rtcTEWS2.Sec;
	if(operationmode == NORMALOPS){
		// set alarm jam 21:17:00 UTC
		_Hour = 21;
		_Min  = 17;
		usb_universal_printf("MODE NORMAL, Alarm Set : %.2d:%.2d:%.2d UTC\r\n",_Hour,_Min,_Sec);
		DS3231_SetAlarm1_B(_Mode, _Date, _Hour, _Min, _Sec);
	}

	if(operationmode == DRIFTINGOPS){
		// set alarm per 1 jam
		alarm_now = _Hour + 1;
		if(alarm_now > 23){
			alarm_now = alarm_now - 24;
		}
		usb_universal_printf("MODE DRIFTING, Alarm Set : %.2d\r\n",alarm_now);
		DS3231_SetAlarm1_B(_Mode, _Date, alarm_now, _Min, _Sec);
	}

	if(operationmode == HOLDOPS){
		// set alarm per 3 jam
		alarm_now = _Hour + periodsendloc;
		if(alarm_now > 23){
			alarm_now = alarm_now - 24;
		}
		usb_universal_printf("MODE TESTING, Alarm Set : %.2d\r\n",alarm_now);
		DS3231_SetAlarm1_B(_Mode, _Date, alarm_now, _Min, _Sec);
	}

	//setgreenLED();

	  char *unit = "K";
	  double lat1 = -6.328759757512878;
	  double lon1 = 106.46331631536947;
	  double lat2 = -6.337566634988436;
	  double lon2 = 106.44137635216677;
	  float aa = distance(lat1,lon1,lat2,lon2,*unit);
	  double bb = CalculateDistance(lat1, lon1,lat2,lon2);
	  usb_universal_printf("Jarak: %f %s\r\n",aa,unit);
	  usb_universal_printf("Jarak: %f %s\r\n",bb,unit);

  /* Infinite loop */
  for(;;)
  {
	  generalTaskTimer = osKernelGetTickCount();

	  ds_wakeup  = HAL_GPIO_ReadPin(DS_WAKEUP_GPIO_Port, DS_WAKEUP_Pin);
	  uint8_t ds_wakeup2  = HAL_GPIO_ReadPin(ALARM_IN_GPIO_Port, ALARM_IN_Pin);

	  if (osSemaphoreGetCount(rtcBinarySemHandle) > 0) {
		  osSemaphoreAcquire(rtcBinarySemHandle, 100);

		  //HAL_GPIO_TogglePin(GPIOE,LED_Pin);
		  DataEngBuoy.leakstatus = HAL_GPIO_ReadPin(LEAKAGE_GPIO_Port,LEAKAGE_Pin);
		  DS3231_ReadTemperature(&boardtemp);
		  DataEngBuoy.tempBuoy = boardtemp;
		  DataEngBuoy.batBuoy = getvoltage();

		  usb_universal_printf("DS WakeUp Status: %d \r\n",ds_wakeup);
		  usb_universal_printf("DS2 WakeUp Status: %d \r\n",ds_wakeup2);
		  //usb_universal_printf("Leak Status: %d \r\n",DataEngBuoy.leakstatus);

		  DS3231_GetTime(&rtcTEWS);
		  HAL_RTC_GetTime(&hrtc, &RTCMicro, RTC_FORMAT_BIN); // Get Time
		  HAL_RTC_GetDate(&hrtc, &RTCDateMicro, RTC_FORMAT_BIN); //Get Date
		  //RTC auto sycron dengan GPS
		  if (rtcTEWS.Hour == 20 && rtcTEWS.Min == 0 && GPS.validstatus == 1) {
			  _RTC setTime;
			  setTime.Hour = GPS.hour;
			  setTime.Min = GPS.minute;
			  setTime.Sec = GPS.second;
			  setTime.Date = rtcTEWS.Date;
			  setTime.Month = rtcTEWS.Month;
			  setTime.Year = rtcTEWS.Year;
			  setTime.DaysOfWeek = rtcTEWS.DaysOfWeek;
			  DS3231_SetTime(&setTime);
			  DS3231_SetTime_B(&setTime);

			  RTCMicro.Hours = GPS.hour;
			  RTCMicro.Minutes = GPS.minute;
			  RTCMicro.Seconds = GPS.second;
			  HAL_RTC_SetTime(&hrtc, &RTCMicro, RTC_FORMAT_BIN);
		  }

		  //RTC Internal auto sycron dengan RTC External
		  if ((rtcTEWS.Sec - RTCMicro.Seconds) > 0) {
			  RTCMicro.Hours = rtcTEWS.Hour - 1;
			  RTCMicro.Minutes = rtcTEWS.Min;
			  RTCMicro.Seconds = rtcTEWS.Sec;
			  HAL_RTC_SetTime(&hrtc, &RTCMicro, RTC_FORMAT_BIN); // Set Time
			  RTCDateMicro.Year = rtcTEWS.Year;
			  RTCDateMicro.Month = rtcTEWS.Month;
			  RTCDateMicro.Date = rtcTEWS.Date;
			  RTCDateMicro.WeekDay = rtcTEWS.DaysOfWeek;
			  HAL_RTC_SetDate(&hrtc, &RTCDateMicro, RTC_FORMAT_BIN);
		  }

		  usb_universal_printf("TIME DS: %.2d:%.2d:%.2d %.2d/%.2d/20%.2d \r\n",
				  rtcTEWS.Hour, rtcTEWS.Min, rtcTEWS.Sec, rtcTEWS.Date,
				  rtcTEWS.Month, rtcTEWS.Year);
		  usb_universal_printf("TIME GPS: %.2d:%.2d:%.2d %.2d/%.2d/20%.2d \r\n",GPS.hour,GPS.minute,GPS.second,GPS.date,GPS.month,GPS.year);

		  usb_universal_printf(
				  "Iridium Queue: %d || Iridium Status: %d || Iridium Status Receive: %d || Status Kirim: %d\r\n",
				  iridiumqueuenumber, IRIDIUM.status, IRIDIUM.statusreceive, statusSendGPS);

		  // Iridium SLEEP MODE delay 2 menit
		  if (IRIDIUM.status == 0 && IRIDIUM.statusreceive == 0 && statusSendGPS == 1) {
			  if (iridiumsleepcounter < 2) {
				  iridiumsleepcounter++;
			  } else {
				  iridiumsleepcounter = 0;
				  statusSendGPS = 2;
				  IRIDIUM.status = Idle;
				  IRIDIUM.statusreceive = IDLERECEIVE;
				  iridium_printf("AT*F\r\n");
			  }
		  }

			// auto sleep setelah on 10 menit
			if (autosleepcounter < 10) {
				autosleepcounter++;
			} else {
				autosleepcounter = 0;
				usb_printf("Device life of more than 10 minutes.\r\n");
				statusSendGPS = 2;
				IRIDIUM.status = Idle;
				IRIDIUM.statusreceive = IDLERECEIVE;
				iridium_printf("AT*F\r\n");
			}

		  if (IRIDIUM.status == SBDRT) {
			  IRIDIUM.statusreceive = IDLERECEIVE;
			  IRIDIUM.status = SBDD1;
		  }

		  if (IRIDIUM.status == SBDWB) {
			  IRIDIUM.statusreceive = IDLERECEIVE;
			  IRIDIUM.status = SBDD0;
		  }

		  if (IRIDIUM.status == WaitSBDD01 && IRIDIUM.statusreceive == IDLERECEIVE) {
			  if (iridium11counter < 5) {
				  iridium11counter++;
			  } else {
				  IRIDIUM.status = IDLE;
				  iridium11counter = 0;
			  }
		  }

		  if (IRIDIUM.status == WaitresponseSBDIX) {
			  IRIDIUM.status = Waitsignal;
		  }

//		  if (rtcTEWS.Hour == 21 && rtcTEWS.Min == 30) {
//			  EncodeTEWSEngBuoy(6);
//		  }

		  //HAL_SuspendTick();
		  //HAL_PWR_EnableSleepOnExit ();
		  //HAL_PWR_EnterSLEEPMode(PWR_MAINREGULATOR_ON, PWR_SLEEPENTRY_WFI);

		  //HAL_PWREx_EnterSTOP2Mode(PWR_STOPENTRY_WFI);
	  }
    osDelay(1);
  }
  /* USER CODE END 5 */
}

void StartIridiumTask(void *argument)
{
  /* USER CODE BEGIN StartIridiumTask */
	osStatus_t status;
	uint8_t queuenumber;
	IRIDIUM_Init();
  /* Infinite loop */
  for(;;)
  {
		iridiumTaskTimer = osKernelGetTickCount();

		queuenumber = osMessageQueueGetCount(iridiumQueueHandle);
		if (queuenumber > 0) {
			memset(bufferiridium, 0, sizeof(bufferiridium));
			status = osMessageQueueGet(iridiumQueueHandle, &bufferiridium, NULL,
					1000);   // wait for message
			if (status == osOK) {
				//proses
				IRIDIUM_Process(bufferiridium);
			}
		}
    osDelay(1);
  }
  /* USER CODE END StartIridiumTask */
}

void StartGpsTask(void *argument)
{
  /* USER CODE BEGIN StartGpsTask */
	osStatus_t status;
	uint8_t queuenumber;
	prevGPSTaskTimer1 = 0;
	prevGPSTaskTimer2 = 0;

	GPS_Init();
	//usb_universal_printf("initialize GPS\r\n");
  /* Infinite loop */
  for(;;)
  {
		gpsTaskTimer = osKernelGetTickCount();

		queuenumber = osMessageQueueGetCount(gpsQueueHandle);
		if (queuenumber > 0) {
			memset(buffergps, 0, sizeof(buffergps));
			status = osMessageQueueGet(gpsQueueHandle, &buffergps, NULL, 1000); // wait for message
			if (status == osOK) {
				//proses
				//usb_universal_printf("Proses GPS\r\n");
				//usb_universal_printf("GPS= %s\r\n",buffergps);
				GPS_Process(buffergps);
			}
		}

//		//Kirim data posisi dengan iridium
//		if ((gpsTaskTimer - prevGPSTaskTimer1) > (60000 * periodsendloc)) {
//			prevGPSTaskTimer1 = gpsTaskTimer;
//			//prevGPSTaskTimer2 = gpsTaskTimer;
//			statusSendGPS = 1;
//			// kirim posisi otomatis
//			EncodeTEWSLocBuoy(0, 14);
//			usb_printf("Kirim Posisi.\r\n");
//		}

		if (statusSendGPS == 0) {
			prevGPSTaskTimer1 = gpsTaskTimer;
			//prevGPSTaskTimer2 = gpsTaskTimer;
			//statusSendGPS = 1;
			// kirim posisi otomatis
			EncodeTEWSLocBuoy(0, 14);
			usb_printf("Kirim Posisi.\r\n");
		}

		//Baca data Iridium dari RDS
//		if ((gpsTaskTimer - prevGPSTaskTimer2) > (60000 * periodsenddata) && statusSendGPS == 0 && IRIDIUM.status == 0 && IRIDIUM.statusreceive == 0) {
//			//prevGPSTaskTimer1 = gpsTaskTimer;
//			prevGPSTaskTimer2 = gpsTaskTimer;
//			statusSendGPS = 1;
//			HAL_GPIO_WritePin(ON_OFF_GPIO_Port, ON_OFF_Pin, GPIO_PIN_SET);
//			osDelay(1000);
//			IRIDIUM.status = SBDIXA;
//			usb_printf("Baca Perintah dari RDS.\r\n");
//		}

    osDelay(1);
  }
  /* USER CODE END StartGpsTask */
}

void StartUsbTask(void *argument)
{
  /* USER CODE BEGIN StartUsbTask */
	osStatus_t status;
	uint8_t queuenumber;
	BT_Init();
	USB_Init();
  /* Infinite loop */
  for(;;)
  {
		usbTaskTimer = osKernelGetTickCount();

		queuenumber = osMessageQueueGetCount(usbQueueHandle);
		if (queuenumber > 0) {
			memset(bufferusb, 0, sizeof(bufferusb));
			status = osMessageQueueGet(usbQueueHandle, &bufferusb, NULL, 1000); // wait for message
			if (status == osOK) {
				USB_Process(bufferusb);
			}
		}
    osDelay(1);
  }
  /* USER CODE END StartUsbTask */
}

void StartSendIridiumTask(void *argument)
{
  /* USER CODE BEGIN StartSendIridiumTask */
	uint8_t queuenumber;
	uint16_t sizedatairidium;
	osStatus_t status;
  /* Infinite loop */
  for(;;)
  {
		datahandleTaskTimer = osKernelGetTickCount();

		queuenumber = osMessageQueueGetCount(iridiumsendQueueHandle);
		iridiumqueuenumber = queuenumber;
		if (queuenumber > 0 && IRIDIUM.status == Idle) {

			//usb_printf("Iridium Queue: %d || Iridium Status: %d || Iridium Status Receive: %d \r\n",
			//		iridiumqueuenumber, IRIDIUM.status, IRIDIUM.statusreceive);

			//osDelay(100);
			IRIDIUM.status = ProsesSend;
			memset(bufferiridiumdata, 0, sizeof(bufferiridiumdata));
			osMessageQueueGet(sizedatairidiumQueueHandle, &sizedatairidium,
			NULL, 1000);
			status = osMessageQueueGet(iridiumsendQueueHandle,
					&bufferiridiumdata, NULL, 1000); // wait for message
			if (status == osOK) {
				//WeekUp Iridium
				HAL_GPIO_WritePin(ON_OFF_GPIO_Port, ON_OFF_Pin, GPIO_PIN_SET);
				statusSendGPS = 1;
				//GPS WeekUp
				GPS_Init();
				//proses sending data to iridium
				usb_printf("Iridium Status data handle out : %d \r\n", IRIDIUM.status);
				senddata(bufferiridiumdata, sizedatairidium);
				//sendtext(bufferiridiumdata);
			}
		}
    osDelay(1);
  }
  /* USER CODE END StartSendIridiumTask */
}

void StartWatchdogTask(void *argument)
{
  /* USER CODE BEGIN StartWatchdogTask */
	uint8_t ResetOnHang;
	uint8_t flaggeneral = 0;
	uint8_t flagiridium = 0;
	uint8_t flaggps = 0;
	uint8_t flagusb = 0;
	uint8_t flagdatahandle = 0;
	uint8_t flagiridiumrecv = 0;
  /* Infinite loop */
  for(;;)
  {
		ResetOnHang = 0;

		if ((osKernelGetTickCount() - generalTaskTimer) > 5000) {
			if (flaggeneral == 0) {
				flaggeneral = 1;
				usb_universal_printf("Hang General \r\n");
			}
			ResetOnHang = 1;
		} else
			flaggeneral = 0;

		if ((osKernelGetTickCount() - iridiumTaskTimer) > 5000) {
			if (flagiridium == 0) {
				flagiridium = 1;
				usb_universal_printf("Hang Iridium \r\n");
			}
			ResetOnHang = 1;
		} else
			flagiridium = 0;

		if ((osKernelGetTickCount() - gpsTaskTimer) > 5000) {
			if (flaggps == 0) {
				flaggps = 1;
				usb_universal_printf("Hang GPS \r\n");
			}
			ResetOnHang = 1;
		} else
			flaggps = 0;

		if ((osKernelGetTickCount() - usbTaskTimer) > 5000) {
			if (flagusb == 0) {
				flagusb = 1;
				usb_universal_printf("Hang USB \r\n");
			}
			ResetOnHang = 1;
		} else
			flagusb = 0;

		if ((osKernelGetTickCount() - datahandleTaskTimer) > 5000) {
			if (flagdatahandle == 0) {
				flagdatahandle = 1;
				usb_universal_printf("Hang data handle \r\n");
			}
			ResetOnHang = 1;
		} else
			flagdatahandle = 0;

		if ((osKernelGetTickCount() - iridiumrecvTaskTimer) > 5000) {
			if (flagiridiumrecv == 0) {
				flagiridiumrecv = 1;
				usb_universal_printf("Hang Iridium Receive \r\n");
			}
			ResetOnHang = 1;
		} else
			flagiridiumrecv = 0;

		if (!ResetOnHang) {
			if (HAL_IWDG_Refresh(&hiwdg) != HAL_OK) {
				// /* Refresh Error*/
				Error_Handler();
			}
		}
		//else NVIC_SystemReset();
    osDelay(1);
  }
  /* USER CODE END StartWatchdogTask */
}

void StartIridiumrecvTask(void *argument)
{
  /* USER CODE BEGIN StartIridiumrecvTask */
	uint8_t queuenumber;
	osStatus_t status;
	char bufferrecv[100];
	osSemaphoreAcquire(iridiumrecvBinarySemHandle, 100);

  /* Infinite loop */
  for(;;)
  {
		iridiumrecvTaskTimer = osKernelGetTickCount();

		IRIDIUM_Loop();

		queuenumber = osMessageQueueGetCount(iridiumrecvQueueHandle);
		if (queuenumber > 0) {
			memset(bufferrecv, 0, sizeof(bufferrecv));
			status = osMessageQueueGet(iridiumrecvQueueHandle, &bufferrecv,
			NULL, 1000);   // wait for message
			if (status == osOK) {
				ProcessReceiveIridium(bufferrecv);
			}
		}
    osDelay(1);
  }
  /* USER CODE END StartIridiumrecvTask */
}

 /**
  * @brief  Period elapsed callback in non blocking mode
  * @note   This function is called  when TIM6 interrupt took place, inside
  * HAL_TIM_IRQHandler(). It makes a direct call to HAL_IncTick() to increment
  * a global variable "uwTick" used as application time base.
  * @param  htim : TIM handle
  * @retval None
  */
void HAL_TIM_PeriodElapsedCallback(TIM_HandleTypeDef *htim)
{
  if (htim->Instance == TIM6) {
    HAL_IncTick();
  }
}

void Error_Handler(void)
{
  /* USER CODE BEGIN Error_Handler_Debug */
  /* User can add his own implementation to report the HAL error return state */
  //__disable_irq();
	//usb_universal_printf("Error UART1 > IRIDIUM>>>\r\n");
  while (1)
  {
  }
  /* USER CODE END Error_Handler_Debug */
}

/************************ (C) COPYRIGHT STMicroelectronics *****END OF FILE****/
